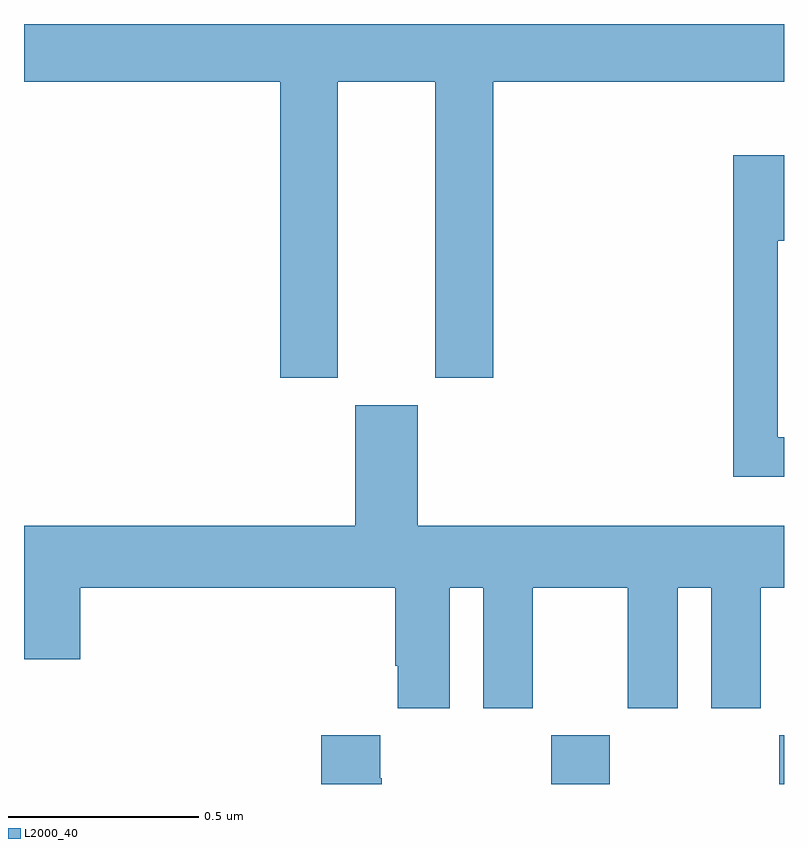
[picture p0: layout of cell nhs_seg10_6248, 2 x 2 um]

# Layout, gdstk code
import gdstk
lib = gdstk.Library(unit=1e-6, precision=1e-09)
def R(c, l, rs):  # rectangles x0, y0, x1, y1
    for r in rs: c.add(gdstk.rectangle(r[:2], r[2:], *l))
def P(c, l, *ps):  # polygons
    for p in ps: c.add(gdstk.Polygon(p, *l))
L2000_40 = (2000, 40)

nhs_seg10_6248 = lib.new_cell('nhs_seg10_6248')
R(nhs_seg10_6248, L2000_40, [(190.387,1266.5,190.542,1266.628), (190.987,1266.5,191,1266.628)])
P(nhs_seg10_6248, L2000_40, [(189,1268.348),(189.674,1268.348),(189.674,1267.569),(189.826,1267.569),(189.826,1268.348),(190.082,1268.348),(190.082,1267.569),(190.235,1267.569),(190.235,1268.348),(191,1268.348),(191,1268.5),(189,1268.5)],
  [(191,1267.413),(190.983,1267.413),(190.983,1267.929),(191,1267.929),(191,1268.155),(190.867,1268.155),(190.867,1267.308),(191,1267.308)],
  [(190.12,1267.016),(190.208,1267.016),(190.208,1266.699),(190.339,1266.699),(190.339,1267.016),(190.589,1267.016),(190.589,1266.699),(190.72,1266.699),(190.72,1267.016),(190.808,1267.016),(190.808,1266.699),(190.939,1266.699),(190.939,1267.016),(191,1267.016),(191,1267.18),(190.036,1267.18),(190.036,1267.497),(189.872,1267.497),(189.872,1267.18),(189,1267.18),(189,1266.828),(189.148,1266.828),(189.148,1267.016),(189.977,1267.016),(189.977,1266.811),(189.983,1266.811),(189.983,1266.699),(190.12,1266.699)],
  [(189.942,1266.515),(189.937,1266.515),(189.937,1266.628),(189.782,1266.628),(189.782,1266.5),(189.942,1266.5)])

lib.write_gds('nhs_seg10_6248.gds')
